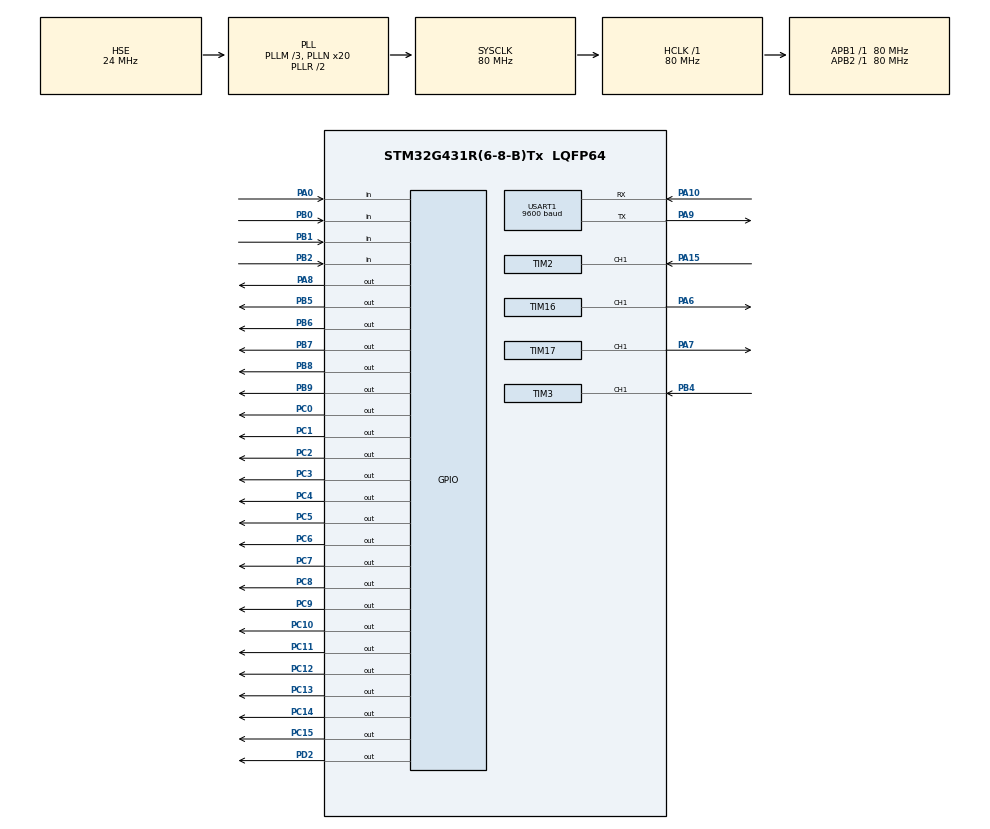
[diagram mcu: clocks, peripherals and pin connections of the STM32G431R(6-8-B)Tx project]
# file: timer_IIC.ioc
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Mcu.Family=STM32G4
Mcu.Name=STM32G431R(6-8-B)Tx
Mcu.Package=LQFP64
NVIC.PriorityGroup=NVIC_PRIORITYGROUP_4
NVIC.TIM2_IRQn=true\:0\:0\:false\:false\:true\:true\:true\:true
NVIC.TIM3_IRQn=true\:0\:0\:false\:false\:true\:true\:true\:true
NVIC.TIM4_IRQn=true\:0\:0\:false\:false\:true\:true\:true\:true
NVIC.USART1_IRQn=true\:0\:0\:false\:false\:true\:true\:true\:true
PA0.GPIO_PuPd=GPIO_PULLUP
PA0.Signal=GPIO_Input
PA10.Mode=Asynchronous
PA10.Signal=USART1_RX
PA15.Signal=S_TIM2_CH1
PA6.Signal=S_TIM16_CH1
PA7.Signal=S_TIM17_CH1
PA8.Signal=GPIO_Output
PA9.Mode=Asynchronous
PA9.Signal=USART1_TX
PB0.GPIO_PuPd=GPIO_PULLUP
PB0.Signal=GPIO_Input
PB1.GPIO_PuPd=GPIO_PULLUP
PB1.Signal=GPIO_Input
PB2.GPIO_PuPd=GPIO_PULLUP
PB2.Signal=GPIO_Input
PB4.Signal=S_TIM3_CH1
PB5.Signal=GPIO_Output
PB6.Signal=GPIO_Output
PB7.Signal=GPIO_Output
PB8-BOOT0.Signal=GPIO_Output
PB9.Signal=GPIO_Output
PC0.Signal=GPIO_Output
PC1.Signal=GPIO_Output
PC10.PinState=GPIO_PIN_SET
PC10.Signal=GPIO_Output
PC11.PinState=GPIO_PIN_SET
PC11.Signal=GPIO_Output
PC12.PinState=GPIO_PIN_SET
PC12.Signal=GPIO_Output
PC13.PinState=GPIO_PIN_SET
PC13.Signal=GPIO_Output
PC14-OSC32_IN.PinState=GPIO_PIN_SET
PC14-OSC32_IN.Signal=GPIO_Output
PC15-OSC32_OUT.PinState=GPIO_PIN_SET
PC15-OSC32_OUT.Signal=GPIO_Output
PC2.Signal=GPIO_Output
PC3.PinState=GPIO_PIN_SET
PC3.Signal=GPIO_Output
PC4.Signal=GPIO_Output
PC5.Signal=GPIO_Output
PC6.Signal=GPIO_Output
PC7.Signal=GPIO_Output
PC8.PinState=GPIO_PIN_SET
PC8.Signal=GPIO_Output
PC9.PinState=GPIO_PIN_SET
PC9.Signal=GPIO_Output
PD2.Signal=GPIO_Output
PF0-OSC_IN.Mode=HSE-External-Oscillator
PF0-OSC_IN.Signal=RCC_OSC_IN
PF1-OSC_OUT.Mode=HSE-External-Oscillator
PF1-OSC_OUT.Signal=RCC_OSC_OUT
ProjectManager.HeapSize=0x200
ProjectManager.StackSize=0x400
ProjectManager.TargetToolchain=MDK-ARM V5.32
RCC.ADC12Freq_Value=80000000
RCC.AHBFreq_Value=80000000
RCC.APB1Freq_Value=80000000
RCC.APB1TimFreq_Value=80000000
RCC.APB2Freq_Value=80000000
RCC.APB2TimFreq_Value=80000000
RCC.CortexFreq_Value=80000000
RCC.EXTERNAL_CLOCK_VALUE=12288000
RCC.HCLKFreq_Value=80000000
RCC.HSE_VALUE=24000000
RCC.HSI48_VALUE=48000000
RCC.HSI_VALUE=16000000
RCC.LSE_VALUE=32768
RCC.PLLM=RCC_PLLM_DIV3
RCC.PLLN=20
RCC.PLLSourceVirtual=RCC_PLLSOURCE_HSE
RCC.SYSCLKFreq_VALUE=80000000
RCC.SYSCLKSource=RCC_SYSCLKSOURCE_PLLCLK
RCC.USBFreq_Value=80000000
RCC.VCOOutputFreq_Value=160000000
SH.S_TIM16_CH1.0=TIM16_CH1,PWM Generation1 CH1
SH.S_TIM17_CH1.0=TIM17_CH1,PWM Generation1 CH1
SH.S_TIM2_CH1.0=TIM2_CH1,Input_Capture1_from_TI1
SH.S_TIM3_CH1.0=TIM3_CH1,Input_Capture1_from_TI1
TIM16.Channel=TIM_CHANNEL_1
TIM16.PeriodNoDither=100-1
TIM16.Prescaler=8000-1
TIM16.PulseNoDither_1=20
TIM17.Channel=TIM_CHANNEL_1
TIM17.PeriodNoDither=100-1
TIM17.Prescaler=4000-1
TIM17.PulseNoDither_1=20
TIM2.Channel-Input_Capture1_from_TI1=TIM_CHANNEL_1
TIM2.Channel-Input_Capture2_from_TI1_63=TIM_CHANNEL_2
TIM2.ICPolarity_CH2=TIM_INPUTCHANNELPOLARITY_FALLING
TIM2.Prescaler=80-1
TIM3.Channel-Input_Capture1_from_TI1=TIM_CHANNEL_1
TIM3.Channel-Input_Capture2_from_TI1_63=TIM_CHANNEL_2
TIM3.ICPolarity_CH2=TIM_INPUTCHANNELPOLARITY_FALLING
TIM3.Prescaler=80-1
TIM4.PeriodNoDither=10000-1
TIM4.Prescaler=80-1
USART1.BaudRate=9600
USART1.VirtualMode-Asynchronous=VM_ASYNC
VP_SYS_VS_DBSignals.Mode=DisableDeadBatterySignals
VP_TIM16_VS_ClockSourceINT.Mode=Enable_Timer
VP_TIM17_VS_ClockSourceINT.Mode=Enable_Timer
VP_TIM2_VS_ClockSourceINT.Mode=Internal
VP_TIM2_VS_indirect_ch1.Mode=Input_Capture2_from_TI1_63
VP_TIM3_VS_ClockSourceINT.Mode=Internal
VP_TIM3_VS_indirect_ch1.Mode=Input_Capture2_from_TI1_63
VP_TIM4_VS_ClockSourceINT.Mode=Internal
board=custom

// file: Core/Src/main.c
/* USER CODE BEGIN Header */
/**
  ******************************************************************************
  * @file           : main.c
  * @brief          : Main program body
  ******************************************************************************
  * @attention
  *
  * Copyright (c) 2024 STMicroelectronics.
  * All rights reserved.
  *
  * This software is licensed under terms that can be found in the LICENSE file
  * in the root directory of this software component.
  * If no LICENSE file comes with this software, it is provided AS-IS.
  *
  ******************************************************************************
  */
/* USER CODE END Header */
#include "main.h"
#include "tim.h"
#include "usart.h"
#include "gpio.h"

/* USER CODE BEGIN Includes */

#include "led.h"
#include "lcd.h"
#include "timer.h"
#include "myusart.h"
#include "i2c_hal.h"
#include "stdio.h"
#include "String.h"

/* USER CODE END Includes */

void SystemClock_Config(void);
/* USER CODE BEGIN PFP */
void key_proc(void);
void lcd_proc(void);

/* USER CODE END PFP */

/* USER CODE BEGIN 0 */

unsigned char text[30];//保存lcd所要显示的数据
unsigned char ucled=0x00;//led灯

//减速函数，控制lcd_proc的速度
__IO uint32_t uwTick_pcd=0;

//两个通道(pa6,pa7)的占空比
unsigned char pa6_duty=10;
unsigned char pa7_duty=10;

/* USER CODE END 0 */

int main(void)
{

  /* MCU Configuration--------------------------------------------------------*/

  /* Reset of all peripherals, Initializes the Flash interface and the Systick. */
  HAL_Init();

  /* Configure the system clock */
  SystemClock_Config();

  /* Initialize all configured peripherals */
  MX_GPIO_Init();
  MX_TIM2_Init();
  MX_TIM3_Init();
  MX_TIM4_Init();
  MX_TIM16_Init();
  MX_TIM17_Init();
  MX_USART1_UART_Init();
  /* USER CODE BEGIN 2 */

    led_disp(0X00);
    LCD_Init();
    LCD_Clear(White);
    LCD_SetBackColor(White);
    LCD_SetTextColor(Blue2);

    HAL_UART_Receive_IT(&huart1,&rxdat,1);//打开串口接收中断

    HAL_TIM_Base_Start_IT(&htim4);//使能定时器4

    //打开定时器PWM输出
    HAL_TIM_PWM_Start(&htim16,TIM_CHANNEL_1);
    HAL_TIM_PWM_Start(&htim17,TIM_CHANNEL_1);

    //打开定时器输入捕获
    HAL_TIM_IC_Start_IT(&htim2,TIM_CHANNEL_1);
    HAL_TIM_IC_Start_IT(&htim3,TIM_CHANNEL_1);

  /* USER CODE END 2 */

  /* Infinite loop */
  while (1)
  {

    /* USER CODE BEGIN 3 */
      key_proc();
      lcd_proc();

  }
  /* USER CODE END 3 */
}

void SystemClock_Config(void)
{
  RCC_OscInitTypeDef RCC_OscInitStruct = {0};
  RCC_ClkInitTypeDef RCC_ClkInitStruct = {0};

  /** Configure the main internal regulator output voltage
  */
  HAL_PWREx_ControlVoltageScaling(PWR_REGULATOR_VOLTAGE_SCALE1);

  /** Initializes the RCC Oscillators according to the specified parameters
  * in the RCC_OscInitTypeDef structure.
  */
  RCC_OscInitStruct.OscillatorType = RCC_OSCILLATORTYPE_HSE;
  RCC_OscInitStruct.HSEState = RCC_HSE_ON;
  RCC_OscInitStruct.PLL.PLLState = RCC_PLL_ON;
  RCC_OscInitStruct.PLL.PLLSource = RCC_PLLSOURCE_HSE;
  RCC_OscInitStruct.PLL.PLLM = RCC_PLLM_DIV3;
  RCC_OscInitStruct.PLL.PLLN = 20;
  RCC_OscInitStruct.PLL.PLLP = RCC_PLLP_DIV2;
  RCC_OscInitStruct.PLL.PLLQ = RCC_PLLQ_DIV2;
  RCC_OscInitStruct.PLL.PLLR = RCC_PLLR_DIV2;
  if (HAL_RCC_OscConfig(&RCC_OscInitStruct) != HAL_OK)
  {
    Error_Handler();
  }

  /** Initializes the CPU, AHB and APB buses clocks
  */
  RCC_ClkInitStruct.ClockType = RCC_CLOCKTYPE_HCLK|RCC_CLOCKTYPE_SYSCLK
                              |RCC_CLOCKTYPE_PCLK1|RCC_CLOCKTYPE_PCLK2;
  RCC_ClkInitStruct.SYSCLKSource = RCC_SYSCLKSOURCE_PLLCLK;
  RCC_ClkInitStruct.AHBCLKDivider = RCC_SYSCLK_DIV1;
  RCC_ClkInitStruct.APB1CLKDivider = RCC_HCLK_DIV1;
  RCC_ClkInitStruct.APB2CLKDivider = RCC_HCLK_DIV1;

  if (HAL_RCC_ClockConfig(&RCC_ClkInitStruct, FLASH_LATENCY_2) != HAL_OK)
  {
    Error_Handler();
  }
}

/* USER CODE BEGIN 4 */

void key_proc(void)
{
    if(1==key[0].single_flag)
    {
        ucled=ucled|0x01;
        sprintf((char *)text,"    %s","key1down");
        LCD_DisplayStringLine(Line0 ,text);
        key[0].single_flag=0;
    }
    else if(1==key[1].single_flag)
    {
        ucled=ucled&0xfe;
        //将频率(16位)存到eeprom中
        //将频率分为高八位和低八位，分别存到eeprom中
        unsigned char frq1_h=frq1>>8;
        unsigned char frq1_l=frq1&0xff;
        eeprom_write(1,frq1_h);
        HAL_Delay(10);//十毫秒
        eeprom_write(2,frq1_l);
       sprintf((char *)text,"    %s","key2down");
        LCD_DisplayStringLine(Line0 ,text);
        key[1].single_flag=0;
    }
    else if(1==key[2].single_flag)
    {
        ucled=ucled|0x02;
        sprintf((char *)text,"    %s","key3down");
        LCD_DisplayStringLine(Line0 ,text);
        //pa6_duty增加
        pa6_duty+=10;
        if(pa6_duty>=100)pa6_duty=10;
        __HAL_TIM_SetCompare(&htim16,TIM_CHANNEL_1,pa6_duty);
        key[2].single_flag=0;
    }
    else if(1==key[3].single_flag)
    {
        ucled=ucled&0xdf;
        sprintf((char *)text,"    %s","key4down");
        LCD_DisplayStringLine(Line0 ,text);
        //pa7_duty增加
        pa7_duty+=10;
        if(pa7_duty>=100)pa7_duty=10;
        __HAL_TIM_SetCompare(&htim17,TIM_CHANNEL_1,pa7_duty);

       key[3].single_flag=0;
    }

    led_disp(ucled);
}

void lcd_proc(void)
{
    if((uwTick-uwTick_pcd)<200)return;//减速函数
    uwTick_pcd=uwTick;

  //第二行显示pa6的占空比
    sprintf((char *)text,"pa6_duty:%d%%",pa6_duty);
    LCD_DisplayStringLine(Line1,text);

  //第三行显示pa7的占空比
    sprintf((char *)text,"pa7_duty:%d%%",pa7_duty);
    LCD_DisplayStringLine(Line2,text);

  //第四行显示R39(tim3)的频率frq2;
 //   sprintf((char *)text,"tim3_frq2:%05d Hz",frq2);
 //   LCD_DisplayStringLine(Line3,text);
    sprintf((char *)text,"tim2_frq:%05d Hz",frq2);
       LCD_DisplayStringLine(Line3,text);
  //第五行显示R39(tim3)的占空比duty2;
    sprintf((char *)text,"tim3_duty2:%0.3f%%",duty2);
    LCD_DisplayStringLine(Line4,text);

  //第六行显示R40(tim2)的频率frq1;
    sprintf((char *)text,"tim2_frq1:%05d Hz",frq1);
    LCD_DisplayStringLine(Line5,text);

  //第七行显示R40(tim2)的占空比duty1;
    sprintf((char *)text,"tim2_duty1:%0.3f%%",duty1);
    LCD_DisplayStringLine(Line6,text);

  //读出存储在eeprom中的频率
    unsigned int eeprom_temp=(eeprom_read(1)<<8)+(eeprom_read(2));
    sprintf((char *)text,"eeprom_frq1:%05d Hz",eeprom_temp);
    LCD_DisplayStringLine(Line7,text);

}

/* USER CODE END 4 */

void Error_Handler(void)
{
  __disable_irq();
  while (1)
  {
  }
}
